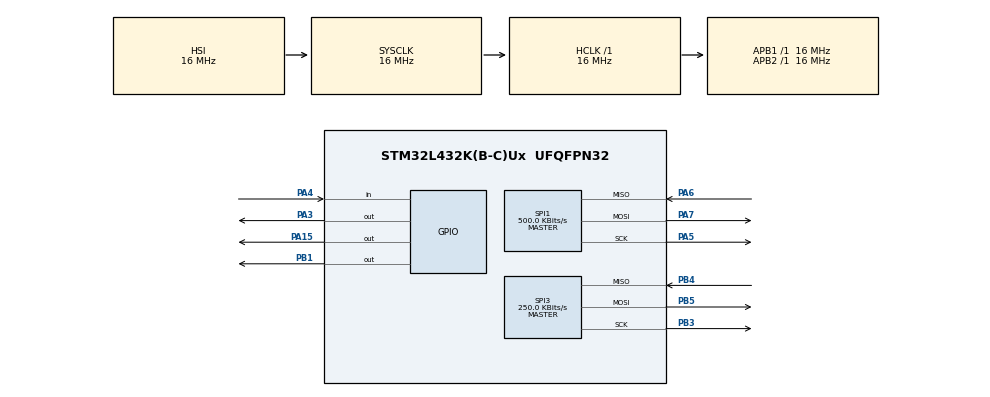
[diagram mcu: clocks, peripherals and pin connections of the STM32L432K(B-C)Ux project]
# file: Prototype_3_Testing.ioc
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Mcu.Family=STM32L4
Mcu.Name=STM32L432K(B-C)Ux
Mcu.Package=UFQFPN32
NVIC.PriorityGroup=NVIC_PRIORITYGROUP_4
PA13\ (JTMS-SWDIO).Signal=SYS_JTMS-SWDIO
PA14\ (JTCK-SWCLK).Signal=SYS_JTCK-SWCLK
PA15\ (JTDI).Signal=GPIO_Output
PA3.Signal=GPIO_Output
PA4.Signal=GPIO_Input
PA5.Mode=Full_Duplex_Master
PA5.Signal=SPI1_SCK
PA6.Mode=Full_Duplex_Master
PA6.Signal=SPI1_MISO
PA7.Mode=Full_Duplex_Master
PA7.Signal=SPI1_MOSI
PB1.Signal=GPIO_Output
PB3\ (JTDO-TRACESWO).Mode=Full_Duplex_Master
PB3\ (JTDO-TRACESWO).Signal=SPI3_SCK
PB4\ (NJTRST).Mode=Full_Duplex_Master
PB4\ (NJTRST).Signal=SPI3_MISO
PB5.Mode=Full_Duplex_Master
PB5.Signal=SPI3_MOSI
ProjectManager.HeapSize=0x200
ProjectManager.StackSize=0x400
ProjectManager.TargetToolchain=STM32CubeIDE
RCC.ADCFreq_Value=64000000
RCC.AHBFreq_Value=16000000
RCC.APB1Freq_Value=16000000
RCC.APB1TimFreq_Value=16000000
RCC.APB2Freq_Value=16000000
RCC.APB2TimFreq_Value=16000000
RCC.CortexFreq_Value=16000000
RCC.HCLKFreq_Value=16000000
RCC.HSE_VALUE=8000000
RCC.HSI48_VALUE=48000000
RCC.HSI_VALUE=16000000
RCC.LSE_VALUE=32768
RCC.MSI_VALUE=4000000
RCC.PLLSourceVirtual=RCC_PLLSOURCE_HSI
RCC.SYSCLKFreq_VALUE=16000000
RCC.SYSCLKSource=RCC_SYSCLKSOURCE_HSI
RCC.USBFreq_Value=64000000
RCC.VCOOutputFreq_Value=128000000
SPI1.BaudRatePrescaler=SPI_BAUDRATEPRESCALER_32
SPI1.CalculateBaudRate=500.0 KBits/s
SPI1.DataSize=SPI_DATASIZE_8BIT
SPI1.Direction=SPI_DIRECTION_2LINES
SPI1.Mode=SPI_MODE_MASTER
SPI1.VirtualType=VM_MASTER
SPI3.BaudRatePrescaler=SPI_BAUDRATEPRESCALER_64
SPI3.CLKPhase=SPI_PHASE_2EDGE
SPI3.CLKPolarity=SPI_POLARITY_HIGH
SPI3.CalculateBaudRate=250.0 KBits/s
SPI3.DataSize=SPI_DATASIZE_8BIT
SPI3.Direction=SPI_DIRECTION_2LINES
SPI3.Mode=SPI_MODE_MASTER
SPI3.VirtualType=VM_MASTER
board=custom

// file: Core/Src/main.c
/* USER CODE BEGIN Header */
/**
  ******************************************************************************
  * @file           : main.c
  * @brief          : Main program body
  ******************************************************************************
  * @attention
  *
  * Copyright (c) 2023 STMicroelectronics.
  * All rights reserved.
  *
  * This software is licensed under terms that can be found in the LICENSE file
  * in the root directory of this software component.
  * If no LICENSE file comes with this software, it is provided AS-IS.
  *
  ******************************************************************************
  */
/* USER CODE END Header */
#include "main.h"

SPI_HandleTypeDef hspi1;
SPI_HandleTypeDef hspi3;

void SystemClock_Config(void);
static void MX_GPIO_Init(void);
static void MX_SPI1_Init(void);
static void MX_SPI3_Init(void);

/* USER CODE BEGIN 0 */
uint8_t spitxbuffer[8];
uint8_t spirxbuffer[8];
uint32_t SPITIMEOUT = 100;

uint8_t spiReadByte(uint8_t address)
{
	spitxbuffer[0] = address | 1 << 7; // set msb for reads
	spitxbuffer[1] = 0;
	HAL_GPIO_WritePin(GPIOA, GPIO_PIN_15, GPIO_PIN_RESET); // Pull CS low
	HAL_SPI_TransmitReceive(&hspi3, spitxbuffer, spirxbuffer, 2*sizeof(uint8_t), SPITIMEOUT);
	HAL_GPIO_WritePin(GPIOA, GPIO_PIN_15, GPIO_PIN_SET); // Release chip select
	return spirxbuffer[1];
}

void spiWriteByte(uint8_t address, uint8_t value)
{
	spitxbuffer[0] = address;
	spitxbuffer[1] = value;
	HAL_GPIO_WritePin(GPIOA, GPIO_PIN_15, GPIO_PIN_RESET); // Pull CS low
	HAL_SPI_Transmit(&hspi3, spitxbuffer, 2, SPITIMEOUT);
	HAL_GPIO_WritePin(GPIOA, GPIO_PIN_15, GPIO_PIN_SET); // Release chip select
}
/* USER CODE END 0 */

int main(void)
{

  /* MCU Configuration--------------------------------------------------------*/

  /* Reset of all peripherals, Initializes the Flash interface and the Systick. */
  HAL_Init();

  /* Configure the system clock */
  SystemClock_Config();

  /* Initialize all configured peripherals */
  MX_GPIO_Init();
  MX_SPI1_Init();
  MX_SPI3_Init();
  /* USER CODE BEGIN 2 */

  HAL_GPIO_WritePin(GPIOA, GPIO_PIN_15, GPIO_PIN_SET); // Disable CS pin

  HAL_Delay(1000);

  // Read the WHO_AM_I Register (should be 0x31 = 51)
  uint8_t debug = spiReadByte(0x0F); // Should be 0x31 = 51

  HAL_Delay(100);

  // Setup the LIS3DH for use
  // CTRL_REG1 (20h) = 01110111
  spiWriteByte(0x20, 0x77); // highest conversion rate, all axis on

  // CTRL_REG4 (23h) = 10001000 (0x88), low res 10000000 (0x80)
  spiWriteByte(0x23, 0x88); // block update, and high resolution

  uint8_t x, y, z = 0; // Acceleration values

  /* USER CODE END 2 */

  /* Infinite loop */
  while (1)
  {

    /* USER CODE BEGIN 3 */
	// Read X acceleration value
	uint8_t lowXbits = spiReadByte(0x28);
	uint8_t highXbits = spiReadByte(0x29);
	HAL_Delay(100);
  }
  /* USER CODE END 3 */
}

void SystemClock_Config(void)
{
  RCC_OscInitTypeDef RCC_OscInitStruct = {0};
  RCC_ClkInitTypeDef RCC_ClkInitStruct = {0};

  /** Configure the main internal regulator output voltage
  */
  if (HAL_PWREx_ControlVoltageScaling(PWR_REGULATOR_VOLTAGE_SCALE1) != HAL_OK)
  {
    Error_Handler();
  }

  /** Initializes the RCC Oscillators according to the specified parameters
  * in the RCC_OscInitTypeDef structure.
  */
  RCC_OscInitStruct.OscillatorType = RCC_OSCILLATORTYPE_HSI;
  RCC_OscInitStruct.HSIState = RCC_HSI_ON;
  RCC_OscInitStruct.HSICalibrationValue = RCC_HSICALIBRATION_DEFAULT;
  RCC_OscInitStruct.PLL.PLLState = RCC_PLL_NONE;
  if (HAL_RCC_OscConfig(&RCC_OscInitStruct) != HAL_OK)
  {
    Error_Handler();
  }

  /** Initializes the CPU, AHB and APB buses clocks
  */
  RCC_ClkInitStruct.ClockType = RCC_CLOCKTYPE_HCLK|RCC_CLOCKTYPE_SYSCLK
                              |RCC_CLOCKTYPE_PCLK1|RCC_CLOCKTYPE_PCLK2;
  RCC_ClkInitStruct.SYSCLKSource = RCC_SYSCLKSOURCE_HSI;
  RCC_ClkInitStruct.AHBCLKDivider = RCC_SYSCLK_DIV1;
  RCC_ClkInitStruct.APB1CLKDivider = RCC_HCLK_DIV1;
  RCC_ClkInitStruct.APB2CLKDivider = RCC_HCLK_DIV1;

  if (HAL_RCC_ClockConfig(&RCC_ClkInitStruct, FLASH_LATENCY_0) != HAL_OK)
  {
    Error_Handler();
  }
}

static void MX_SPI1_Init(void)
{

  /* SPI1 parameter configuration*/
  hspi1.Instance = SPI1;
  hspi1.Init.Mode = SPI_MODE_MASTER;
  hspi1.Init.Direction = SPI_DIRECTION_2LINES;
  hspi1.Init.DataSize = SPI_DATASIZE_8BIT;
  hspi1.Init.CLKPolarity = SPI_POLARITY_LOW;
  hspi1.Init.CLKPhase = SPI_PHASE_1EDGE;
  hspi1.Init.NSS = SPI_NSS_SOFT;
  hspi1.Init.BaudRatePrescaler = SPI_BAUDRATEPRESCALER_32;
  hspi1.Init.FirstBit = SPI_FIRSTBIT_MSB;
  hspi1.Init.TIMode = SPI_TIMODE_DISABLE;
  hspi1.Init.CRCCalculation = SPI_CRCCALCULATION_DISABLE;
  hspi1.Init.CRCPolynomial = 7;
  hspi1.Init.CRCLength = SPI_CRC_LENGTH_DATASIZE;
  hspi1.Init.NSSPMode = SPI_NSS_PULSE_ENABLE;
  if (HAL_SPI_Init(&hspi1) != HAL_OK)
  {
    Error_Handler();
  }

}

static void MX_SPI3_Init(void)
{

  /* SPI3 parameter configuration*/
  hspi3.Instance = SPI3;
  hspi3.Init.Mode = SPI_MODE_MASTER;
  hspi3.Init.Direction = SPI_DIRECTION_2LINES;
  hspi3.Init.DataSize = SPI_DATASIZE_8BIT;
  hspi3.Init.CLKPolarity = SPI_POLARITY_HIGH;
  hspi3.Init.CLKPhase = SPI_PHASE_2EDGE;
  hspi3.Init.NSS = SPI_NSS_SOFT;
  hspi3.Init.BaudRatePrescaler = SPI_BAUDRATEPRESCALER_64;
  hspi3.Init.FirstBit = SPI_FIRSTBIT_MSB;
  hspi3.Init.TIMode = SPI_TIMODE_DISABLE;
  hspi3.Init.CRCCalculation = SPI_CRCCALCULATION_DISABLE;
  hspi3.Init.CRCPolynomial = 7;
  hspi3.Init.CRCLength = SPI_CRC_LENGTH_DATASIZE;
  hspi3.Init.NSSPMode = SPI_NSS_PULSE_DISABLE;
  if (HAL_SPI_Init(&hspi3) != HAL_OK)
  {
    Error_Handler();
  }

}

static void MX_GPIO_Init(void)
{
  GPIO_InitTypeDef GPIO_InitStruct = {0};

  /* GPIO Ports Clock Enable */
  __HAL_RCC_GPIOA_CLK_ENABLE();
  __HAL_RCC_GPIOB_CLK_ENABLE();

  /*Configure GPIO pin Output Level */
  HAL_GPIO_WritePin(GPIOA, GPIO_PIN_3|GPIO_PIN_15, GPIO_PIN_RESET);

  /*Configure GPIO pin Output Level */
  HAL_GPIO_WritePin(GPIOB, GPIO_PIN_1, GPIO_PIN_RESET);

  /*Configure GPIO pins : PA3 PA15 */
  GPIO_InitStruct.Pin = GPIO_PIN_3|GPIO_PIN_15;
  GPIO_InitStruct.Mode = GPIO_MODE_OUTPUT_PP;
  GPIO_InitStruct.Pull = GPIO_NOPULL;
  GPIO_InitStruct.Speed = GPIO_SPEED_FREQ_LOW;
  HAL_GPIO_Init(GPIOA, &GPIO_InitStruct);

  /*Configure GPIO pin : PA4 */
  GPIO_InitStruct.Pin = GPIO_PIN_4;
  GPIO_InitStruct.Mode = GPIO_MODE_INPUT;
  GPIO_InitStruct.Pull = GPIO_NOPULL;
  HAL_GPIO_Init(GPIOA, &GPIO_InitStruct);

  /*Configure GPIO pin : PB1 */
  GPIO_InitStruct.Pin = GPIO_PIN_1;
  GPIO_InitStruct.Mode = GPIO_MODE_OUTPUT_PP;
  GPIO_InitStruct.Pull = GPIO_NOPULL;
  GPIO_InitStruct.Speed = GPIO_SPEED_FREQ_LOW;
  HAL_GPIO_Init(GPIOB, &GPIO_InitStruct);

}

void Error_Handler(void)
{
  __disable_irq();
  while (1)
  {
  }
}
